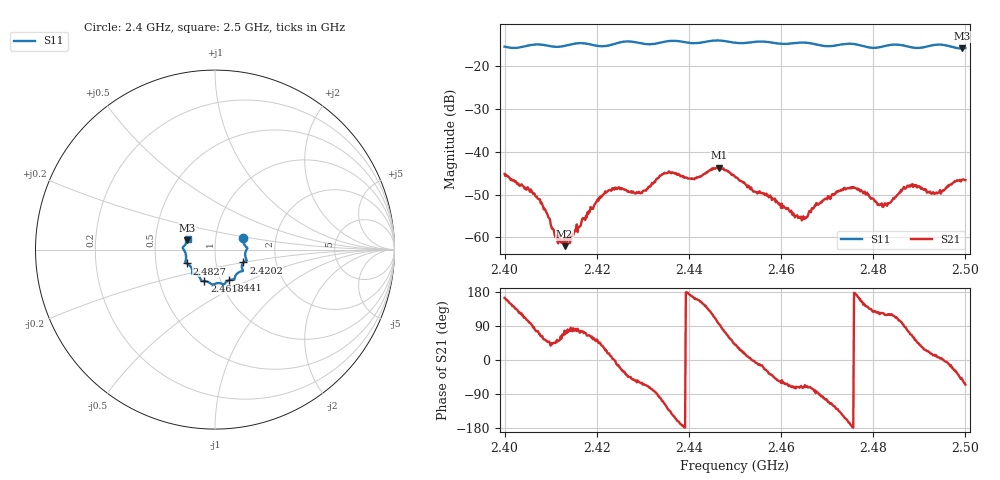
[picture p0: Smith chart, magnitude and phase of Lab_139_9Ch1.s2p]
# Hz S RI R 50
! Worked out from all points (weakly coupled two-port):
!   601 points, 2.4 GHz to 2.5 GHz, reference 50 ohm
!   highest |S21| = -43.70 dB at 2.4465 GHz (marker M1); lowest = -62.1 dB at 2.413 GHz (marker M2)
!   lowest |S11| = -15.8 dB at 2.4993 GHz (marker M3), VSWR 1.39, Z = 36.5 + j3.84 ohm
!   |S11| at or under -10 dB: start of sweep to end of sweep
!   S12 and S22 are empty: the file has one direction only
!   S11 on the Smith chart (normalised r, x): 2.4 GHz: 1.36, +0.18; 2.4202 GHz: 1.36, -0.20; 2.441 GHz: 1.10, -0.39; 2.4618 GHz: 0.84, -0.30; 2.4827 GHz: 0.72, -0.12; 2.5 GHz: 0.73, +0.09
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2.4e9  0.1585 0.063  -0.00529 0.00155  0 0  0 0
2.406167e9  0.1794 0.0103  0.000249 0.00321  0 0  0 0
2.411167e9  0.1688 -0.0182  0.000715 0.000778  0 0  0 0
2.413e9  0.1694 -0.0392  0.00017 0.000768  0 0  0 0
2.416667e9  0.1772 -0.061  0.000358 0.00145  0 0  0 0
2.420167e9  0.1585 -0.0714  0.00171 0.00218  0 0  0 0
2.423833e9  0.1509 -0.1055  0.00362 -2.23e-05  0 0  0 0
2.429833e9  0.1382 -0.1236  0.00165 -0.00286  0 0  0 0
2.433333e9  0.1114 -0.1508  -0.000437 -0.00487  0 0  0 0
2.441e9  0.0787 -0.1697  -0.00469 0.00122  0 0  0 0
2.4465e9  0.0489 -0.1952  -0.000604 0.0065  0 0  0 0
2.45e9  0.0283 -0.1874  0.00389 0.00333  0 0  0 0
2.461833e9  -0.0592 -0.1756  0.000787 -0.00186  0 0  0 0
2.465e9  -0.0764 -0.1743  0.000526 -0.00155  0 0  0 0
2.466667e9  -0.0788 -0.1682  0.000538 -0.00212  0 0  0 0
2.4755e9  -0.1276 -0.1324  -0.00377 -0.000152  0 0  0 0
2.482667e9  -0.1561 -0.0772  -0.00121 0.00217  0 0  0 0
2.483333e9  -0.1605 -0.0752  -0.00122 0.00217  0 0  0 0
2.488e9  -0.1614 -0.0494  0.00147 0.00363  0 0  0 0
2.493667e9  -0.1796 0.00773  0.00327 0.000724  0 0  0 0
2.499333e9  -0.154 0.0513  0.00292 -0.00371  0 0  0 0
2.5e9  -0.1523 0.0608  0.00197 -0.00423  0 0  0 0
